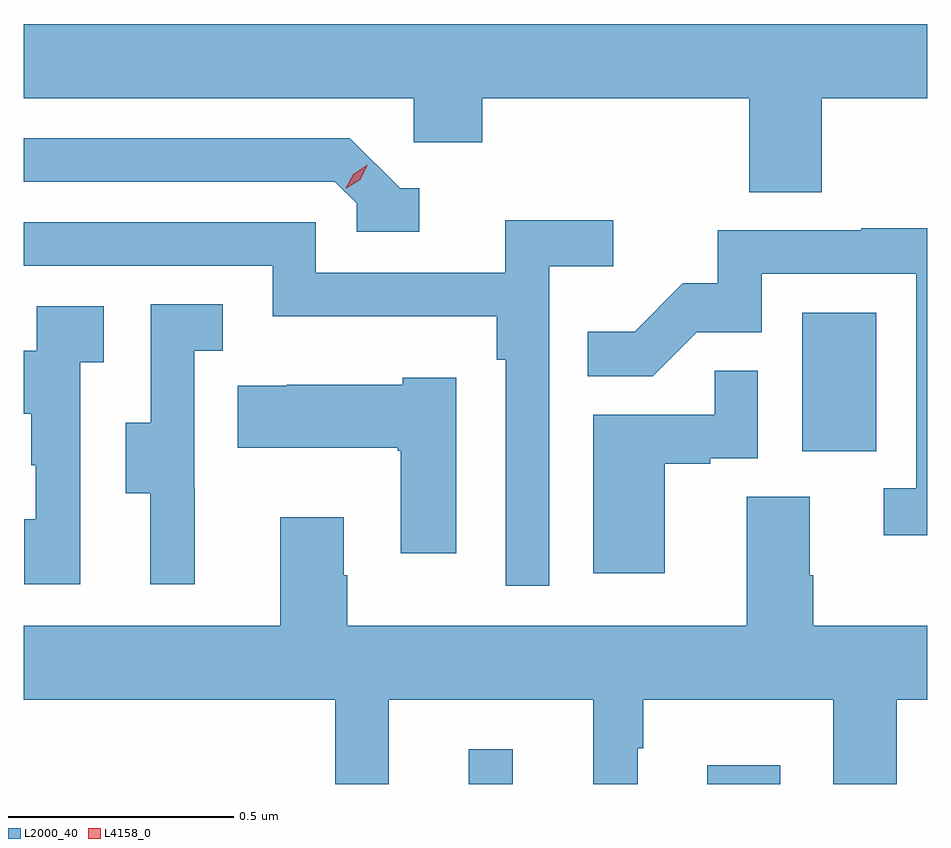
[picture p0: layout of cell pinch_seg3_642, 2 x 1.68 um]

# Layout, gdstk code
import gdstk
lib = gdstk.Library(unit=1e-6, precision=1e-09)
def R(c, l, rs):  # rectangles x0, y0, x1, y1
    for r in rs: c.add(gdstk.rectangle(r[:2], r[2:], *l))
def P(c, l, *ps):  # polygons
    for p in ps: c.add(gdstk.Polygon(p, *l))
L2000_40 = (2000, 40)
L4158_0 = (4158, 0)

pinch_seg3_642 = lib.new_cell('pinch_seg3_642')
R(pinch_seg3_642, L2000_40, [(1030.424,675.422,1030.521,675.499), (1030.952,675.422,1031.113,675.463), (1031.162,676.158,1031.326,676.465)])
P(pinch_seg3_642, L2000_40, [(1031.205,676.94),(1031.439,676.94),(1031.439,677.104),(1029.439,677.104),(1029.439,676.94),(1030.302,676.94),(1030.302,676.842),(1030.454,676.842),(1030.454,676.94),(1031.045,676.94),(1031.045,676.732),(1031.205,676.732)],
  [(1030.315,676.74),(1030.272,676.74),(1030.161,676.851),(1029.439,676.851),(1029.439,676.755),(1030.128,676.755),(1030.176,676.707),(1030.176,676.644),(1030.315,676.644)],
  [(1030.602,676.568),(1030.744,676.568),(1030.744,676.67),(1030.505,676.67),(1030.505,676.554),(1030.086,676.554),(1030.086,676.665),(1029.439,676.665),(1029.439,676.569),(1029.99,676.569),(1029.99,676.457),(1030.486,676.457),(1030.486,676.361),(1030.506,676.361),(1030.506,675.861),(1030.602,675.861)],
  [(1031.439,676.652),(1031.293,676.652),(1031.293,676.647),(1030.975,676.647),(1030.975,676.53),(1030.898,676.53),(1030.791,676.423),(1030.687,676.423),(1030.687,676.324),(1030.831,676.324),(1030.929,676.422),(1031.073,676.422),(1031.073,676.551),(1031.415,676.551),(1031.415,676.077),(1031.343,676.077),(1031.343,675.972),(1031.439,675.972)],
  [(1029.818,676.077),(1029.816,676.077),(1029.816,676.381),(1029.88,676.381),(1029.88,676.484),(1029.72,676.484),(1029.72,676.221),(1029.665,676.221),(1029.665,676.066),(1029.719,676.066),(1029.719,675.864),(1029.818,675.864)],
  [(1029.564,676.355),(1029.616,676.355),(1029.616,676.479),(1029.468,676.479),(1029.468,676.381),(1029.439,676.381),(1029.439,676.241),(1029.456,676.241),(1029.456,676.127),(1029.466,676.127),(1029.466,676.008),(1029.44,676.008),(1029.44,675.864),(1029.564,675.864)],
  [(1030.858,676.131),(1030.958,676.131),(1030.958,676.143),(1031.064,676.143),(1031.064,676.337),(1030.969,676.337),(1030.969,676.239),(1030.7,676.239),(1030.7,675.888),(1030.858,675.888)],
  [(1030.396,676.321),(1030.278,676.321),(1030.278,676.306),(1030.021,676.306),(1030.021,676.303),(1029.913,676.303),(1029.913,676.166),(1030.267,676.166),(1030.267,676.159),(1030.274,676.159),(1030.274,675.933),(1030.396,675.933)],
  [(1030.247,675.608),(1030.7,675.608),(1030.7,675.422),(1030.798,675.422),(1030.798,675.501),(1030.81,675.501),(1030.81,675.608),(1031.231,675.608),(1031.231,675.422),(1031.371,675.422),(1031.371,675.608),(1031.439,675.608),(1031.439,675.772),(1031.187,675.772),(1031.187,675.884),(1031.179,675.884),(1031.179,676.058),(1031.039,676.058),(1031.039,675.772),(1030.155,675.772),(1030.155,675.884),(1030.147,675.884),(1030.147,676.012),(1030.007,676.012),(1030.007,675.772),(1029.439,675.772),(1029.439,675.608),(1030.129,675.608),(1030.129,675.422),(1030.247,675.422)])
P(pinch_seg3_642, L4158_0, [(1030.152,676.74),(1030.152,676.741),(1030.169,676.773),(1030.2,676.792),(1030.2,676.792),(1030.2,676.792),(1030.184,676.759),(1030.153,676.74)])

lib.write_gds('pinch_seg3_642.gds')
